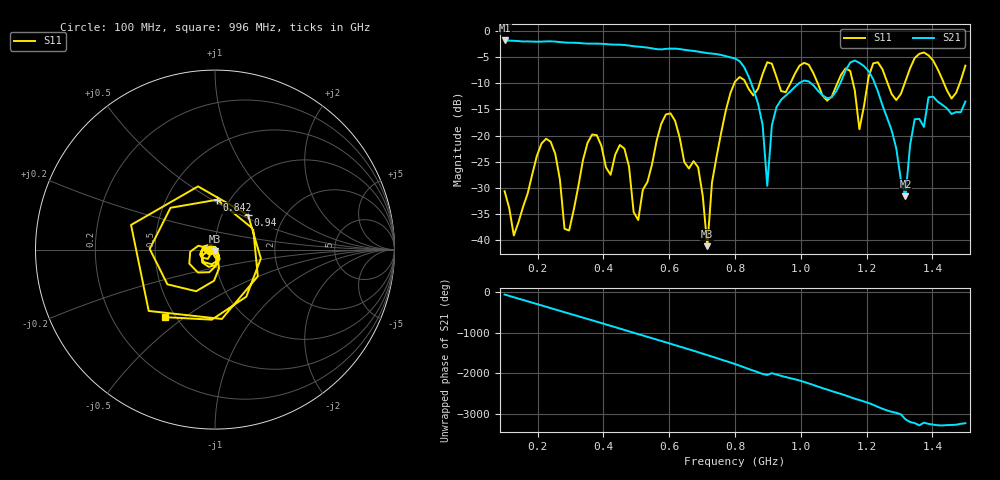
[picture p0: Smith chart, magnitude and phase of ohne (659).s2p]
! NanoVNA-App
! Date: 2025-09-25 14:25:56
! Start: 100MHz Stop: 1,5GHz Points: 101
! S-Parameter data: F S11 S21 S12 S22
# Hz S RI R 50
!  Frequency  S11_Real  S11_Imag  S21_Real  S21_Imag  S12_Real  S12_Imag  S22_Real  S22_Imag
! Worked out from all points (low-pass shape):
!   101 points, 100 MHz to 1.5 GHz, reference 50 ohm
!   highest |S21| = -1.79 dB at 100 MHz (marker M1); lowest = -31.6 dB at 1.318 GHz (marker M2)
!   |S21| within 3 dB of the highest: start of sweep to 771.5 MHz
!   lowest |S11| = -41.2 dB at 716 MHz (marker M3), VSWR 1.02, Z = 49.8 - j0.854 ohm
!   |S11| at or under -10 dB: start of sweep to 797.9 MHz; 833.1 MHz to 875.1 MHz (42 MHz wide, 4.92 % of centre); 1.051 GHz to 1.111 GHz (59.47 MHz wide, 5.5 % of centre) (the widest 3 of 7)
!   S12 and S22 are empty: the file has one direction only
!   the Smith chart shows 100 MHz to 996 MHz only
!   S11 on the Smith chart (normalised r, x): 100 MHz: 0.94, -0.01; 842 MHz: 0.88, +0.53; 940 MHz: 1.32, +0.55; 996 MHz: 0.44, -0.43
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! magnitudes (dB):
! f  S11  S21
! 100 MHz  -30.6  -1.8
! 128 MHz  -39.1  -1.9
! 226 MHz  -20.6  -2.0
! 296 MHz  -38.2  -2.2
! 338 MHz  -24.7  -2.3
! 464 MHz  -22.5  -2.7
! 506 MHz  -36.2  -3.0
! 576 MHz  -17.7  -3.5
! 688 MHz  -26.1  -3.9
! 716 MHz  -41.2  -4.2
! 800 MHz  -9.7  -5.2
! 842 MHz  -11.1  -8.8
! 898 MHz  -6.0  -29.6
! 940 MHz  -11.5  -13.2
! 996 MHz  -6.6  -9.9
! 1.038 GHz  -8.0  -10.4
! 1.178 GHz  -18.8  -6.1
! 1.22 GHz  -6.2  -9.3
! 1.276 GHz  -12.0  -19.0
! 1.318 GHz  -9.6  -31.6
! 1.388 GHz  -4.6  -12.7
! 1.5 GHz  -6.6  -13.5
